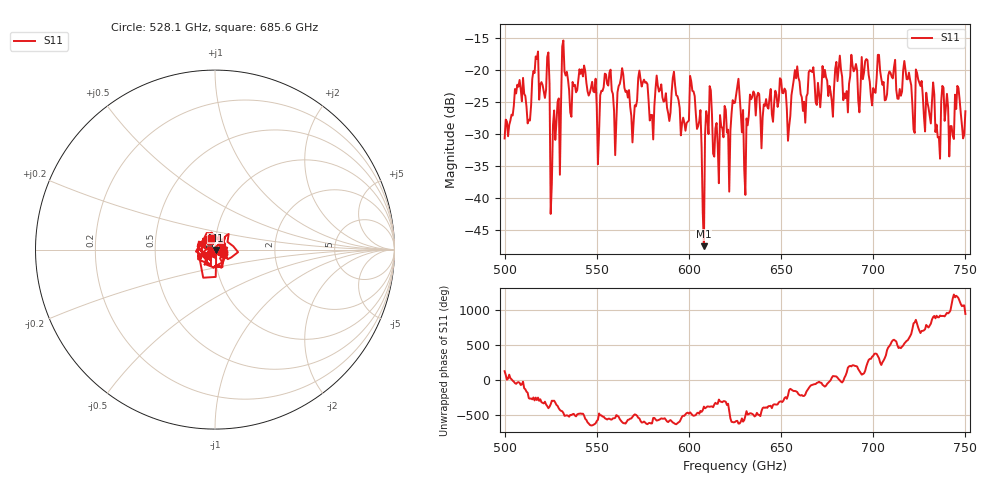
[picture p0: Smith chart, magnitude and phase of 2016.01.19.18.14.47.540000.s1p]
!Created with skrf (http://scikit-rf.org).
# GHz S RI R 50.0
!freq ReS11 ImS11
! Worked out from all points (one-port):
!   401 points, 500 GHz to 750 GHz, reference 50 ohm
!   lowest |S11| = -47.5 dB at 608.1 GHz (marker M1), VSWR 1.01, Z = 50.4 - j0.163 ohm
!   |S11| at or under -10 dB: start of sweep to end of sweep
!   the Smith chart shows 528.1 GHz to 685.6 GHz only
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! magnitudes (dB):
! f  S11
! 500 GHz  -30.7
! 506.9 GHz  -22.3
! 513.1 GHz  -27.7
! 516.9 GHz  -17.9
! 523.1 GHz  -18.0
! 526.2 GHz  -28.6
! 531.2 GHz  -16.3
! 542.5 GHz  -21.0
! 551.2 GHz  -29.7
! 562.5 GHz  -22.2
! 569.4 GHz  -31.3
! 573.8 GHz  -21.4
! 580 GHz  -27.0
! 593.8 GHz  -24.1
! 596.9 GHz  -27.4
! 601.9 GHz  -23.3
! 608.1 GHz  -47.5
! 610.6 GHz  -30.0
! 615 GHz  -28.3
! 625 GHz  -25.1
! 630 GHz  -35.4
! 634.4 GHz  -24.2
! 656.2 GHz  -22.7
! 687.5 GHz  -21.0
! 718.8 GHz  -21.4
! 735 GHz  -30.5
! 738.8 GHz  -27.9
! 750 GHz  -26.4
